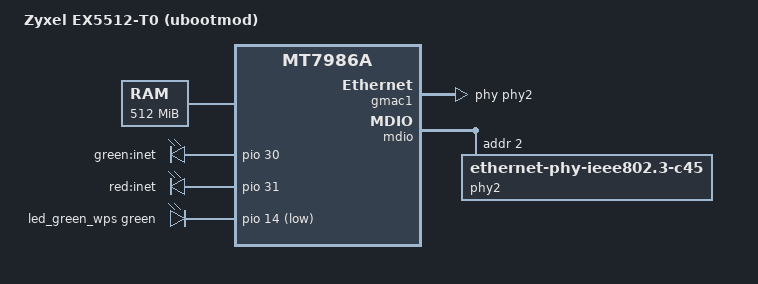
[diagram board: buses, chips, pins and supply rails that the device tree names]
// SPDX-License-Identifier: (GPL-2.0 OR MIT)
/*
 * Copyright (C) 2021 MediaTek Inc.
 * Author: Sam.Shih <sam.shih@mediatek.com>
 */

/dts-v1/;
#include "mt7986a-zyxel-ex5601-t0-common.dtsi"

/ {
	model = "Zyxel EX5512-T0 (ubootmod)";
	compatible = "zyxel,ex5512-t0-ubootmod", "mediatek,mt7986a";

	memory@40000000 {
		reg = <0 0x40000000 0 0x20000000>;
		device_type = "memory";
	};

	chosen {
		bootargs-append = " root=/dev/fit0 rootwait";
		rootdisk = <&ubi_rootdisk>;
	};

	leds {
		led_green_inet: led_green_inet {
			label = "green:inet";
			gpios = <&pio 30 GPIO_ACTIVE_HIGH>;
			default-state = "off";
		};

		led_red_inet: led_red_inet {
			label = "red:inet";
			gpios = <&pio 31 GPIO_ACTIVE_HIGH>;
			default-state = "off";
		};

		led_green_wps: led_green_wps {
			color = <LED_COLOR_ID_GREEN>;
			function = LED_FUNCTION_WPS;
			gpios = <&pio 14 GPIO_ACTIVE_LOW>;
			default-state = "off";
		};
	};
};

&nand_partitions {
	partition@0 {
		label = "bl2";
		reg = <0x0 0x100000>;
		read-only;
	};

	partition@100000 {
		label = "u-boot-env";
		reg = <0x0100000 0x0080000>;
		read-only;
	};

	factory: partition@180000 {
		label = "Factory";
		reg = <0x180000 0x0200000>;
		read-only;

		nvmem-layout {
			compatible = "fixed-layout";
			#address-cells = <1>;
			#size-cells = <1>;

			eeprom_factory: eeprom@0 {
				#size-cells = <1>;
				reg = <0x0 0x1000>;
			};

			macaddr_factory_4: macaddr@4 {
				compatible = "mac-base";
				reg = <0x4 0x6>;
				#nvmem-cell-cells = <1>;
			};

			macaddr_factory_24: macaddr@24 {
				compatible = "mac-base";
				reg = <0x24 0x6>;
				#nvmem-cell-cells = <1>;
			};

			macaddr_factory_2a: macaddr@2a {
				compatible = "mac-base";
				reg = <0x2a 0x6>;
				#nvmem-cell-cells = <1>;
			};
		};
	};

	partition@380000 {
		label = "fip";
		reg = <0x380000 0x01C0000>;
		read-only;
	};

	partition@540000 {
		label = "zloader";
		reg = <0x540000 0x0040000>;
		read-only;
	};

	partition@580000 {
		label = "ubi";
		reg = <0x580000 0x1da80000>;
		compatible = "linux,ubi";

		volumes {
			ubi_rootdisk: ubi-volume-fit {
				volname = "fit";
			};
		};
	};
};

&gmac1 {
	phy = <&phy2>;
};

&mdio {
	/delete-node/ phy@6;

	phy2: phy@2 {
		compatible = "ethernet-phy-ieee802.3-c45";
		reg = <2>;

		leds {
			#address-cells = <1>;
			#size-cells = <0>;

			led@0 {
				reg = <0>;
				color = <LED_COLOR_ID_GREEN>;
				function = LED_FUNCTION_WAN;
			};
		};
	};
};

&spi1 {
	status = "disabled";
};
